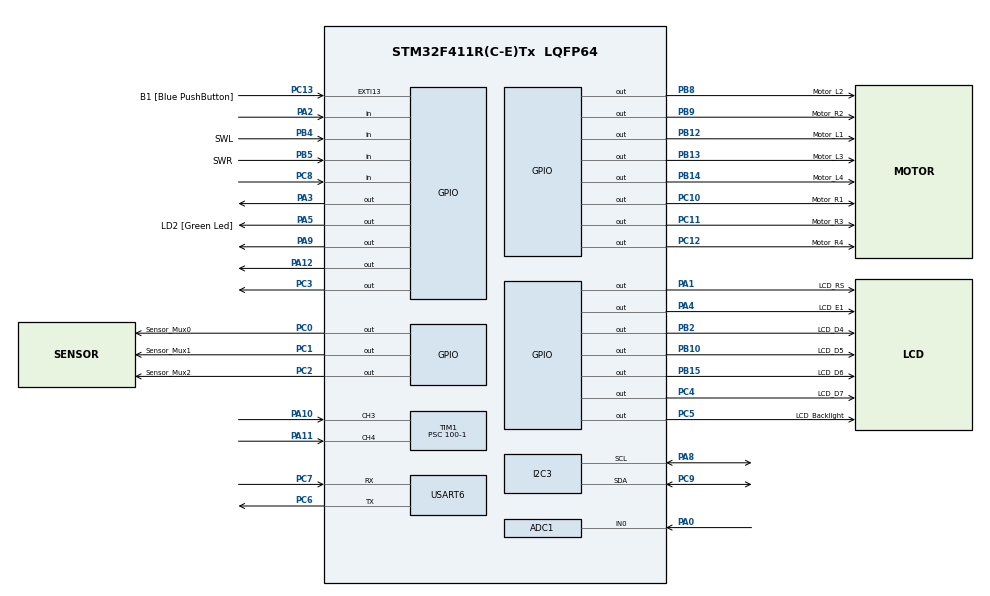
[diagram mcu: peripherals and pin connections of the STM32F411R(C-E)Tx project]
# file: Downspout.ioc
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ADC1.Channel-5\#ChannelRegularConversion=ADC_CHANNEL_0
ADC1.NbrOfConversion=1
ADC1.NbrOfConversionFlag=1
ADC1.Rank-5\#ChannelRegularConversion=1
ADC1.SamplingTime-5\#ChannelRegularConversion=ADC_SAMPLETIME_15CYCLES
ADC1.master=1
Mcu.Family=STM32F4
Mcu.Name=STM32F411R(C-E)Tx
Mcu.Package=LQFP64
NVIC.PriorityGroup=NVIC_PRIORITYGROUP_0
NVIC.TIM1_BRK_TIM9_IRQn=true\:0\:0\:false\:false\:true\:true\:true\:true
NVIC.TIM1_CC_IRQn=true\:0\:0\:false\:false\:true\:true\:true\:true
NVIC.TIM1_TRG_COM_TIM11_IRQn=true\:0\:0\:false\:false\:true\:true\:true\:true
NVIC.TIM1_UP_TIM10_IRQn=true\:0\:0\:false\:false\:true\:true\:true\:true
NVIC.TIM3_IRQn=true\:0\:0\:false\:false\:true\:true\:true\:true
NVIC.TIM4_IRQn=true\:0\:0\:false\:false\:true\:true\:true\:true
NVIC.TIM5_IRQn=true\:0\:2\:false\:false\:true\:true\:true\:true
PA0-WKUP.Signal=ADCx_IN0
PA1.GPIO_Label=LCD_RS
PA1.Signal=GPIO_Output
PA10.Signal=S_TIM1_CH3
PA11.Signal=S_TIM1_CH4
PA12.Signal=GPIO_Output
PA13.GPIO_Label=TMS
PA13.Mode=Serial_Wire
PA13.Signal=SYS_JTMS-SWDIO
PA14.GPIO_Label=TCK
PA14.Mode=Serial_Wire
PA14.Signal=SYS_JTCK-SWCLK
PA2.Signal=GPIO_Input
PA3.Signal=GPIO_Output
PA4.GPIO_Label=LCD_E1
PA4.Signal=GPIO_Output
PA5.GPIO_Label=LD2 [Green Led]
PA5.Signal=GPIO_Output
PA8.Mode=I2C
PA8.Signal=I2C3_SCL
PA9.Signal=GPIO_Output
PB10.GPIO_Label=LCD_D5
PB10.Signal=GPIO_Output
PB12.GPIO_Label=Motor_L1
PB12.Signal=GPIO_Output
PB13.GPIO_Label=Motor_L3
PB13.Signal=GPIO_Output
PB14.GPIO_Label=Motor_L4
PB14.Signal=GPIO_Output
PB15.GPIO_Label=LCD_D6
PB15.Signal=GPIO_Output
PB2.GPIO_Label=LCD_D4
PB2.Signal=GPIO_Output
PB3.GPIO_Label=SWO
PB3.Signal=SYS_JTDO-SWO
PB4.GPIO_Label=SWL
PB4.GPIO_PuPd=GPIO_PULLUP
PB4.Signal=GPIO_Input
PB5.GPIO_Label=SWR
PB5.GPIO_PuPd=GPIO_PULLUP
PB5.Signal=GPIO_Input
PB8.GPIO_Label=Motor_L2
PB8.Signal=GPIO_Output
PB9.GPIO_Label=Motor_R2
PB9.Signal=GPIO_Output
PC0.GPIO_Label=Sensor_Mux0
PC0.Signal=GPIO_Output
PC1.GPIO_Label=Sensor_Mux1
PC1.Signal=GPIO_Output
PC10.GPIO_Label=Motor_R1
PC10.Signal=GPIO_Output
PC11.GPIO_Label=Motor_R3
PC11.Signal=GPIO_Output
PC12.GPIO_Label=Motor_R4
PC12.Signal=GPIO_Output
PC13-ANTI_TAMP.GPIO_Label=B1 [Blue PushButton]
PC13-ANTI_TAMP.GPIO_ModeDefaultEXTI=GPIO_MODE_IT_FALLING
PC13-ANTI_TAMP.Signal=GPXTI13
PC14-OSC32_IN.Mode=LSE-External-Oscillator
PC14-OSC32_IN.Signal=RCC_OSC32_IN
PC15-OSC32_OUT.Mode=LSE-External-Oscillator
PC15-OSC32_OUT.Signal=RCC_OSC32_OUT
PC2.GPIO_Label=Sensor_Mux2
PC2.Signal=GPIO_Output
PC3.Signal=GPIO_Output
PC4.GPIO_Label=LCD_D7
PC4.Signal=GPIO_Output
PC5.GPIO_Label=LCD_Backlight
PC5.Signal=GPIO_Output
PC6.Mode=Asynchronous
PC6.Signal=USART6_TX
PC7.Mode=Asynchronous
PC7.Signal=USART6_RX
PC8.Signal=GPIO_Input
PC9.Mode=I2C
PC9.Signal=I2C3_SDA
PH0\ -\ OSC_IN.Mode=HSE-External-Clock-Source
PH0\ -\ OSC_IN.Signal=RCC_OSC_IN
PH1\ -\ OSC_OUT.Mode=HSE-External-Clock-Source
PH1\ -\ OSC_OUT.Signal=RCC_OSC_OUT
ProjectManager.HeapSize=0x200
ProjectManager.StackSize=0x400
ProjectManager.TargetToolchain=STM32CubeIDE
RCC.48MHZClocksFreq_Value=50000000
RCC.AHBFreq_Value=100000000
RCC.APB1CLKDivider=RCC_HCLK_DIV2
RCC.APB1Freq_Value=50000000
RCC.APB1TimFreq_Value=100000000
RCC.APB2Freq_Value=100000000
RCC.APB2TimFreq_Value=100000000
RCC.CortexFreq_Value=100000000
RCC.FLatency-AdvancedSettings=FLASH_LATENCY_3
RCC.HCLKFreq_Value=100000000
RCC.HSE_VALUE=8000000
RCC.HSI_VALUE=16000000
RCC.PLLM=8
RCC.PLLN=100
RCC.SYSCLKFreq_VALUE=100000000
RCC.SYSCLKSource=RCC_SYSCLKSOURCE_PLLCLK
RCC.VCOOutputFreq_Value=200000000
SH.ADCx_IN0.0=ADC1_IN0,IN0
SH.S_TIM1_CH3.0=TIM1_CH3,Input_Capture3_from_TI3
SH.S_TIM1_CH4.0=TIM1_CH4,Input_Capture4_from_TI4
TIM1.Channel-Input_Capture3_from_TI3=TIM_CHANNEL_3
TIM1.Channel-Input_Capture4_from_TI4=TIM_CHANNEL_4
TIM1.Period=0xffff-1
TIM1.Prescaler=100-1
TIM2.Prescaler=99
TIM2.TIM_MasterOutputTrigger=TIM_TRGO_RESET
TIM3.AutoReloadPreload=TIM_AUTORELOAD_PRELOAD_ENABLE
TIM3.Prescaler=99
TIM4.AutoReloadPreload=TIM_AUTORELOAD_PRELOAD_ENABLE
TIM4.Prescaler=99
TIM5.Period=10000
TIM5.Prescaler=0
TIM5.TIM_MasterOutputTrigger=TIM_TRGO_RESET
TIM9.Period=50000
USART6.VirtualMode=VM_ASYNC
VP_TIM1_VS_ClockSourceINT.Mode=Internal
VP_TIM2_VS_ClockSourceINT.Mode=Internal
VP_TIM2_VS_OPM.Mode=OPM_bit
VP_TIM3_VS_ClockSourceINT.Mode=Internal
VP_TIM4_VS_ClockSourceINT.Mode=Internal
VP_TIM5_VS_ClockSourceINT.Mode=Internal
VP_TIM9_VS_ClockSourceINT.Mode=Internal
board=NUCLEO-F411RE

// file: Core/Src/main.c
/* USER CODE BEGIN Header */
/**
 ******************************************************************************
 * @file           : main.c
 * @brief          : Main program body
 ******************************************************************************
 * @attention
 *
 * <h2><center>&copy; Copyright (c) 2021 STMicroelectronics.
 * All rights reserved.</center></h2>
 *
 * This software component is licensed by ST under BSD 3-Clause license,
 * the "License"; You may not use this file except in compliance with the
 * License. You may obtain a copy of the License at:
 *                        opensource.org/licenses/BSD-3-Clause
 *
 ******************************************************************************
 */
/* USER CODE END Header */
#include "main.h"

/* USER CODE BEGIN Includes */
#include "init.h"
/* USER CODE END Includes */

/* USER CODE BEGIN PD */
#define TRIG_PIN GPIO_PIN_12
#define TRIG_PORT GPIOA

#define TRIG_PIN2 GPIO_PIN_9
#define TRIG_PORT2 GPIOA

/* USER CODE END PD */

/* USER CODE BEGIN PM */
#ifdef __GNUC__
  /* With GCC, small printf (option LD Linker->Libraries->Small printf
     set to 'Yes') calls __io_putchar() */
  #define PUTCHAR_PROTOTYPE int __io_putchar(int ch)
#else
  #define PUTCHAR_PROTOTYPE int fputc(int ch, FILE *f)
#endif /* __GNUC__ */
PUTCHAR_PROTOTYPE
{
  /* Place your implementation of fputc here */
  /* e.g. write a character to the EVAL_COM1 and Loop until the end of transmission */
  HAL_UART_Transmit(&huart6, (uint8_t *)&ch, 1, 0xFFFF);

  return ch;
}

/* USER CODE END PM */

TIM_HandleTypeDef htim1;

UART_HandleTypeDef huart6;

/* USER CODE BEGIN PV */
uint32_t IC_Val1 = 0;
uint32_t IC_Val2 = 0;
uint32_t Difference = 0;
uint8_t Is_First_Captured = 0;  // is the first value captured ?
uint8_t Distance  = 0;

uint32_t IC_Val3 = 0;
uint32_t IC_Val4 = 0;
uint32_t Difference2 = 0;
uint8_t Is_First_Captured2 = 0;  // is the first value captured ?
uint8_t Distance2  = 0;
/* USER CODE END PV */

void SystemClock_Config(void);
static void MX_GPIO_Init(void);
static void MX_ADC1_Init(void);
static void MX_I2C3_Init(void);
static void MX_TIM2_Init(void);
static void MX_TIM3_Init(void);
static void MX_TIM4_Init(void);
static void MX_TIM5_Init(void);
static void MX_TIM9_Init(void);
static void MX_TIM1_Init(void);
static void MX_USART6_UART_Init(void);
/* USER CODE BEGIN PFP */
void delay (uint16_t time)
{
	__HAL_TIM_SET_COUNTER(&htim1, 0);
	while (__HAL_TIM_GET_COUNTER (&htim1) < time);
}

void HAL_TIM_IC_CaptureCallback(TIM_HandleTypeDef *htim)
{

	if (htim->Channel == HAL_TIM_ACTIVE_CHANNEL_4)  // if the interrupt source is channel4
	{
		if (Is_First_Captured==0) // if the first value is not captured
		{
			IC_Val1 = HAL_TIM_ReadCapturedValue(htim, TIM_CHANNEL_4); // read the first value
			Is_First_Captured = 1;  // set the first captured as true
			// Now change the polarity to falling edge
			__HAL_TIM_SET_CAPTUREPOLARITY(htim, TIM_CHANNEL_4, TIM_INPUTCHANNELPOLARITY_FALLING);
		}

		else if (Is_First_Captured==1)   // if the first is already captured
		{
			IC_Val2 = HAL_TIM_ReadCapturedValue(htim, TIM_CHANNEL_4);  // read second value
			__HAL_TIM_SET_COUNTER(htim, 0);  // reset the counter

			if (IC_Val2 > IC_Val1)
			{
				Difference = IC_Val2-IC_Val1;
			}

			else if (IC_Val1 > IC_Val2)
			{
				Difference = (0xffff - IC_Val1) + IC_Val2;
			}

			Distance = Difference * 0.034/2;
			Is_First_Captured = 0; // set it back to false

			// set polarity to rising edge
			__HAL_TIM_SET_CAPTUREPOLARITY(htim, TIM_CHANNEL_4, TIM_INPUTCHANNELPOLARITY_RISING);
			__HAL_TIM_DISABLE_IT(&htim1, TIM_IT_CC4);
		}
	}

	if (htim->Channel == HAL_TIM_ACTIVE_CHANNEL_3)  // if the interrupt source is channel1
		{
			if (Is_First_Captured2==0) // if the first value is not captured
			{
				IC_Val3 = HAL_TIM_ReadCapturedValue(htim, TIM_CHANNEL_3); // read the first value
				Is_First_Captured2 = 1;  // set the first captured as true
				// Now change the polarity to falling edge
				__HAL_TIM_SET_CAPTUREPOLARITY(htim, TIM_CHANNEL_3, TIM_INPUTCHANNELPOLARITY_FALLING);
			}

			else if (Is_First_Captured2==1)   // if the first is already captured
			{
				IC_Val4 = HAL_TIM_ReadCapturedValue(htim, TIM_CHANNEL_3);  // read second value
				__HAL_TIM_SET_COUNTER(htim, 0);  // reset the counter

				if (IC_Val4 > IC_Val3)
				{
					Difference2 = IC_Val4-IC_Val3;
				}

				else if (IC_Val3 > IC_Val4)
				{
					Difference2 = (0xffff - IC_Val3) + IC_Val4;
				}

				Distance2 = Difference2 * 0.034/2;
				Is_First_Captured2 = 0; // set it back to false

				// set polarity to rising edge
				__HAL_TIM_SET_CAPTUREPOLARITY(htim, TIM_CHANNEL_3, TIM_INPUTCHANNELPOLARITY_RISING);
				__HAL_TIM_DISABLE_IT(&htim1, TIM_IT_CC3);
			}
		}
}

void HCSR04_Read (void)
{
	HAL_GPIO_WritePin(TRIG_PORT, TRIG_PIN, GPIO_PIN_SET);  // pull the TRIG pin HIGH
	delay(10);  // wait for 10 us
	HAL_GPIO_WritePin(TRIG_PORT, TRIG_PIN, GPIO_PIN_RESET);  // pull the TRIG pin low
	//__HAL_TIM_DISABLE_IT(&htim1,TIM_IT_CC3);
	__HAL_TIM_ENABLE_IT(&htim1, TIM_IT_CC4);
}

void HCSR04_Read2 (void)
{
	HAL_GPIO_WritePin(TRIG_PORT2, TRIG_PIN2, GPIO_PIN_SET);  // pull the TRIG pin HIGH
	delay(10);  // wait for 10 us
	HAL_GPIO_WritePin(TRIG_PORT2, TRIG_PIN2, GPIO_PIN_RESET);  // pull the TRIG pin low
	//__HAL_TIM_DISABLE_IT(&htim1,TIM_IT_CC4);
	__HAL_TIM_ENABLE_IT(&htim1, TIM_IT_CC3);

}

/* USER CODE END PFP */

int main(void)
{

  /* MCU Configuration--------------------------------------------------------*/

  /* Reset of all peripherals, Initializes the Flash interface and the Systick. */
  HAL_Init();

  /* Configure the system clock */
  SystemClock_Config();

  /* Initialize all configured peripherals */
  MX_GPIO_Init();
  MX_ADC1_Init();
  MX_I2C3_Init();
  MX_TIM2_Init();
  MX_TIM3_Init();
  MX_TIM4_Init();
  MX_TIM5_Init();
  MX_TIM9_Init();
  MX_TIM1_Init();
  MX_USART6_UART_Init();
  /* USER CODE BEGIN 2 */
  Init();
  /* USER CODE END 2 */

  /* Infinite loop */
  while (1) {

  }
}

void SystemClock_Config(void)
{
  LL_FLASH_SetLatency(LL_FLASH_LATENCY_3);
  while(LL_FLASH_GetLatency()!= LL_FLASH_LATENCY_3)
  {
  }
  LL_PWR_SetRegulVoltageScaling(LL_PWR_REGU_VOLTAGE_SCALE1);
  LL_RCC_HSI_SetCalibTrimming(16);
  LL_RCC_HSI_Enable();

   /* Wait till HSI is ready */
  while(LL_RCC_HSI_IsReady() != 1)
  {

  }
  LL_RCC_PLL_ConfigDomain_SYS(LL_RCC_PLLSOURCE_HSI, LL_RCC_PLLM_DIV_8, 100, LL_RCC_PLLP_DIV_2);
  LL_RCC_PLL_Enable();

   /* Wait till PLL is ready */
  while(LL_RCC_PLL_IsReady() != 1)
  {

  }
  LL_RCC_SetAHBPrescaler(LL_RCC_SYSCLK_DIV_1);
  LL_RCC_SetAPB1Prescaler(LL_RCC_APB1_DIV_2);
  LL_RCC_SetAPB2Prescaler(LL_RCC_APB2_DIV_1);
  LL_RCC_SetSysClkSource(LL_RCC_SYS_CLKSOURCE_PLL);

   /* Wait till System clock is ready */
  while(LL_RCC_GetSysClkSource() != LL_RCC_SYS_CLKSOURCE_STATUS_PLL)
  {

  }
  LL_SetSystemCoreClock(100000000);

   /* Update the time base */
  if (HAL_InitTick (TICK_INT_PRIORITY) != HAL_OK)
  {
    Error_Handler();
  }
  LL_RCC_SetTIMPrescaler(LL_RCC_TIM_PRESCALER_TWICE);
}

static void MX_ADC1_Init(void)
{

  LL_ADC_InitTypeDef ADC_InitStruct = {0};
  LL_ADC_REG_InitTypeDef ADC_REG_InitStruct = {0};
  LL_ADC_CommonInitTypeDef ADC_CommonInitStruct = {0};

  LL_GPIO_InitTypeDef GPIO_InitStruct = {0};

  /* Peripheral clock enable */
  LL_APB2_GRP1_EnableClock(LL_APB2_GRP1_PERIPH_ADC1);

  LL_AHB1_GRP1_EnableClock(LL_AHB1_GRP1_PERIPH_GPIOA);
  /**ADC1 GPIO Configuration
  PA0-WKUP   ------> ADC1_IN0
  */
  GPIO_InitStruct.Pin = LL_GPIO_PIN_0;
  GPIO_InitStruct.Mode = LL_GPIO_MODE_ANALOG;
  GPIO_InitStruct.Pull = LL_GPIO_PULL_NO;
  LL_GPIO_Init(GPIOA, &GPIO_InitStruct);

  /** Common config
  */
  ADC_InitStruct.Resolution = LL_ADC_RESOLUTION_12B;
  ADC_InitStruct.DataAlignment = LL_ADC_DATA_ALIGN_RIGHT;
  ADC_InitStruct.SequencersScanMode = LL_ADC_SEQ_SCAN_DISABLE;
  LL_ADC_Init(ADC1, &ADC_InitStruct);
  ADC_REG_InitStruct.TriggerSource = LL_ADC_REG_TRIG_SOFTWARE;
  ADC_REG_InitStruct.SequencerLength = LL_ADC_REG_SEQ_SCAN_DISABLE;
  ADC_REG_InitStruct.SequencerDiscont = LL_ADC_REG_SEQ_DISCONT_DISABLE;
  ADC_REG_InitStruct.ContinuousMode = LL_ADC_REG_CONV_SINGLE;
  ADC_REG_InitStruct.DMATransfer = LL_ADC_REG_DMA_TRANSFER_NONE;
  LL_ADC_REG_Init(ADC1, &ADC_REG_InitStruct);
  LL_ADC_REG_SetFlagEndOfConversion(ADC1, LL_ADC_REG_FLAG_EOC_UNITARY_CONV);
  ADC_CommonInitStruct.CommonClock = LL_ADC_CLOCK_SYNC_PCLK_DIV4;
  LL_ADC_CommonInit(__LL_ADC_COMMON_INSTANCE(ADC1), &ADC_CommonInitStruct);
  /** Configure Regular Channel
  */
  LL_ADC_REG_SetSequencerRanks(ADC1, LL_ADC_REG_RANK_1, LL_ADC_CHANNEL_0);
  LL_ADC_SetChannelSamplingTime(ADC1, LL_ADC_CHANNEL_0, LL_ADC_SAMPLINGTIME_15CYCLES);

}

static void MX_I2C3_Init(void)
{

  LL_I2C_InitTypeDef I2C_InitStruct = {0};

  LL_GPIO_InitTypeDef GPIO_InitStruct = {0};

  LL_AHB1_GRP1_EnableClock(LL_AHB1_GRP1_PERIPH_GPIOC);
  LL_AHB1_GRP1_EnableClock(LL_AHB1_GRP1_PERIPH_GPIOA);
  /**I2C3 GPIO Configuration
  PC9   ------> I2C3_SDA
  PA8   ------> I2C3_SCL
  */
  GPIO_InitStruct.Pin = LL_GPIO_PIN_9;
  GPIO_InitStruct.Mode = LL_GPIO_MODE_ALTERNATE;
  GPIO_InitStruct.Speed = LL_GPIO_SPEED_FREQ_VERY_HIGH;
  GPIO_InitStruct.OutputType = LL_GPIO_OUTPUT_OPENDRAIN;
  GPIO_InitStruct.Pull = LL_GPIO_PULL_UP;
  GPIO_InitStruct.Alternate = LL_GPIO_AF_4;
  LL_GPIO_Init(GPIOC, &GPIO_InitStruct);

  GPIO_InitStruct.Pin = LL_GPIO_PIN_8;
  GPIO_InitStruct.Mode = LL_GPIO_MODE_ALTERNATE;
  GPIO_InitStruct.Speed = LL_GPIO_SPEED_FREQ_VERY_HIGH;
  GPIO_InitStruct.OutputType = LL_GPIO_OUTPUT_OPENDRAIN;
  GPIO_InitStruct.Pull = LL_GPIO_PULL_UP;
  GPIO_InitStruct.Alternate = LL_GPIO_AF_4;
  LL_GPIO_Init(GPIOA, &GPIO_InitStruct);

  /* Peripheral clock enable */
  LL_APB1_GRP1_EnableClock(LL_APB1_GRP1_PERIPH_I2C3);

  /** I2C Initialization
  */
  LL_I2C_DisableOwnAddress2(I2C3);
  LL_I2C_DisableGeneralCall(I2C3);
  LL_I2C_EnableClockStretching(I2C3);
  I2C_InitStruct.PeripheralMode = LL_I2C_MODE_I2C;
  I2C_InitStruct.ClockSpeed = 100000;
  I2C_InitStruct.DutyCycle = LL_I2C_DUTYCYCLE_2;
  I2C_InitStruct.OwnAddress1 = 0;
  I2C_InitStruct.TypeAcknowledge = LL_I2C_ACK;
  I2C_InitStruct.OwnAddrSize = LL_I2C_OWNADDRESS1_7BIT;
  LL_I2C_Init(I2C3, &I2C_InitStruct);
  LL_I2C_SetOwnAddress2(I2C3, 0);

}

static void MX_TIM1_Init(void)
{

  TIM_ClockConfigTypeDef sClockSourceConfig = {0};
  TIM_MasterConfigTypeDef sMasterConfig = {0};
  TIM_IC_InitTypeDef sConfigIC = {0};

  htim1.Instance = TIM1;
  htim1.Init.Prescaler = 100-1;
  htim1.Init.CounterMode = TIM_COUNTERMODE_UP;
  htim1.Init.Period = 0xffff-1;
  htim1.Init.ClockDivision = TIM_CLOCKDIVISION_DIV1;
  htim1.Init.RepetitionCounter = 0;
  htim1.Init.AutoReloadPreload = TIM_AUTORELOAD_PRELOAD_DISABLE;
  if (HAL_TIM_Base_Init(&htim1) != HAL_OK)
  {
    Error_Handler();
  }
  sClockSourceConfig.ClockSource = TIM_CLOCKSOURCE_INTERNAL;
  if (HAL_TIM_ConfigClockSource(&htim1, &sClockSourceConfig) != HAL_OK)
  {
    Error_Handler();
  }
  if (HAL_TIM_IC_Init(&htim1) != HAL_OK)
  {
    Error_Handler();
  }
  sMasterConfig.MasterOutputTrigger = TIM_TRGO_RESET;
  sMasterConfig.MasterSlaveMode = TIM_MASTERSLAVEMODE_DISABLE;
  if (HAL_TIMEx_MasterConfigSynchronization(&htim1, &sMasterConfig) != HAL_OK)
  {
    Error_Handler();
  }
  sConfigIC.ICPolarity = TIM_INPUTCHANNELPOLARITY_RISING;
  sConfigIC.ICSelection = TIM_ICSELECTION_DIRECTTI;
  sConfigIC.ICPrescaler = TIM_ICPSC_DIV1;
  sConfigIC.ICFilter = 0;
  if (HAL_TIM_IC_ConfigChannel(&htim1, &sConfigIC, TIM_CHANNEL_3) != HAL_OK)
  {
    Error_Handler();
  }
  if (HAL_TIM_IC_ConfigChannel(&htim1, &sConfigIC, TIM_CHANNEL_4) != HAL_OK)
  {
    Error_Handler();
  }

}

static void MX_TIM2_Init(void)
{

  LL_TIM_InitTypeDef TIM_InitStruct = {0};

  /* Peripheral clock enable */
  LL_APB1_GRP1_EnableClock(LL_APB1_GRP1_PERIPH_TIM2);

  TIM_InitStruct.Prescaler = 99;
  TIM_InitStruct.CounterMode = LL_TIM_COUNTERMODE_UP;
  TIM_InitStruct.Autoreload = 4294967295;
  TIM_InitStruct.ClockDivision = LL_TIM_CLOCKDIVISION_DIV1;
  LL_TIM_Init(TIM2, &TIM_InitStruct);
  LL_TIM_DisableARRPreload(TIM2);
  LL_TIM_SetClockSource(TIM2, LL_TIM_CLOCKSOURCE_INTERNAL);
  LL_TIM_SetOnePulseMode(TIM2, LL_TIM_ONEPULSEMODE_SINGLE);
  LL_TIM_SetTriggerOutput(TIM2, LL_TIM_TRGO_RESET);
  LL_TIM_DisableMasterSlaveMode(TIM2);

}

static void MX_TIM3_Init(void)
{

  LL_TIM_InitTypeDef TIM_InitStruct = {0};

  /* Peripheral clock enable */
  LL_APB1_GRP1_EnableClock(LL_APB1_GRP1_PERIPH_TIM3);

  /* TIM3 interrupt Init */
  NVIC_SetPriority(TIM3_IRQn, NVIC_EncodePriority(NVIC_GetPriorityGrouping(),0, 0));
  NVIC_EnableIRQ(TIM3_IRQn);

  TIM_InitStruct.Prescaler = 99;
  TIM_InitStruct.CounterMode = LL_TIM_COUNTERMODE_UP;
  TIM_InitStruct.Autoreload = 65535;
  TIM_InitStruct.ClockDivision = LL_TIM_CLOCKDIVISION_DIV1;
  LL_TIM_Init(TIM3, &TIM_InitStruct);
  LL_TIM_EnableARRPreload(TIM3);
  LL_TIM_SetClockSource(TIM3, LL_TIM_CLOCKSOURCE_INTERNAL);
  LL_TIM_SetTriggerOutput(TIM3, LL_TIM_TRGO_RESET);
  LL_TIM_DisableMasterSlaveMode(TIM3);

}

static void MX_TIM4_Init(void)
{

  LL_TIM_InitTypeDef TIM_InitStruct = {0};

  /* Peripheral clock enable */
  LL_APB1_GRP1_EnableClock(LL_APB1_GRP1_PERIPH_TIM4);

  /* TIM4 interrupt Init */
  NVIC_SetPriority(TIM4_IRQn, NVIC_EncodePriority(NVIC_GetPriorityGrouping(),0, 0));
  NVIC_EnableIRQ(TIM4_IRQn);

  TIM_InitStruct.Prescaler = 99;
  TIM_InitStruct.CounterMode = LL_TIM_COUNTERMODE_UP;
  TIM_InitStruct.Autoreload = 65535;
  TIM_InitStruct.ClockDivision = LL_TIM_CLOCKDIVISION_DIV1;
  LL_TIM_Init(TIM4, &TIM_InitStruct);
  LL_TIM_EnableARRPreload(TIM4);
  LL_TIM_SetClockSource(TIM4, LL_TIM_CLOCKSOURCE_INTERNAL);
  LL_TIM_SetTriggerOutput(TIM4, LL_TIM_TRGO_RESET);
  LL_TIM_DisableMasterSlaveMode(TIM4);

}

static void MX_TIM5_Init(void)
{

  LL_TIM_InitTypeDef TIM_InitStruct = {0};

  /* Peripheral clock enable */
  LL_APB1_GRP1_EnableClock(LL_APB1_GRP1_PERIPH_TIM5);

  /* TIM5 interrupt Init */
  NVIC_SetPriority(TIM5_IRQn, NVIC_EncodePriority(NVIC_GetPriorityGrouping(),0, 2));
  NVIC_EnableIRQ(TIM5_IRQn);

  TIM_InitStruct.Prescaler = 0;
  TIM_InitStruct.CounterMode = LL_TIM_COUNTERMODE_UP;
  TIM_InitStruct.Autoreload = 10000;
  TIM_InitStruct.ClockDivision = LL_TIM_CLOCKDIVISION_DIV1;
  LL_TIM_Init(TIM5, &TIM_InitStruct);
  LL_TIM_DisableARRPreload(TIM5);
  LL_TIM_SetClockSource(TIM5, LL_TIM_CLOCKSOURCE_INTERNAL);
  LL_TIM_SetTriggerOutput(TIM5, LL_TIM_TRGO_RESET);
  LL_TIM_DisableMasterSlaveMode(TIM5);

}

static void MX_TIM9_Init(void)
{

  LL_TIM_InitTypeDef TIM_InitStruct = {0};

  /* Peripheral clock enable */
  LL_APB2_GRP1_EnableClock(LL_APB2_GRP1_PERIPH_TIM9);

  /* TIM9 interrupt Init */
  NVIC_SetPriority(TIM1_BRK_TIM9_IRQn, NVIC_EncodePriority(NVIC_GetPriorityGrouping(),0, 0));
  NVIC_EnableIRQ(TIM1_BRK_TIM9_IRQn);

  TIM_InitStruct.Prescaler = 0;
  TIM_InitStruct.CounterMode = LL_TIM_COUNTERMODE_UP;
  TIM_InitStruct.Autoreload = 50000;
  TIM_InitStruct.ClockDivision = LL_TIM_CLOCKDIVISION_DIV1;
  LL_TIM_Init(TIM9, &TIM_InitStruct);
  LL_TIM_DisableARRPreload(TIM9);
  LL_TIM_SetClockSource(TIM9, LL_TIM_CLOCKSOURCE_INTERNAL);

}

static void MX_USART6_UART_Init(void)
{

  huart6.Instance = USART6;
  huart6.Init.BaudRate = 115200;
  huart6.Init.WordLength = UART_WORDLENGTH_8B;
  huart6.Init.StopBits = UART_STOPBITS_1;
  huart6.Init.Parity = UART_PARITY_NONE;
  huart6.Init.Mode = UART_MODE_TX_RX;
  huart6.Init.HwFlowCtl = UART_HWCONTROL_NONE;
  huart6.Init.OverSampling = UART_OVERSAMPLING_16;
  if (HAL_UART_Init(&huart6) != HAL_OK)
  {
    Error_Handler();
  }

}

static void MX_GPIO_Init(void)
{
  LL_EXTI_InitTypeDef EXTI_InitStruct = {0};
  LL_GPIO_InitTypeDef GPIO_InitStruct = {0};

  /* GPIO Ports Clock Enable */
  LL_AHB1_GRP1_EnableClock(LL_AHB1_GRP1_PERIPH_GPIOC);
  LL_AHB1_GRP1_EnableClock(LL_AHB1_GRP1_PERIPH_GPIOH);
  LL_AHB1_GRP1_EnableClock(LL_AHB1_GRP1_PERIPH_GPIOA);
  LL_AHB1_GRP1_EnableClock(LL_AHB1_GRP1_PERIPH_GPIOB);

  /**/
  LL_GPIO_ResetOutputPin(GPIOC, Sensor_Mux0_Pin|Sensor_Mux1_Pin|Sensor_Mux2_Pin|LL_GPIO_PIN_3
                          |LCD_D7_Pin|LCD_Backlight_Pin|Motor_R1_Pin|Motor_R3_Pin
                          |Motor_R4_Pin);

  /**/
  LL_GPIO_ResetOutputPin(GPIOA, LCD_RS_Pin|LL_GPIO_PIN_3|LCD_E1_Pin|LD2_Pin
                          |LL_GPIO_PIN_9|LL_GPIO_PIN_12);

  /**/
  LL_GPIO_ResetOutputPin(GPIOB, LCD_D4_Pin|LCD_D5_Pin|Motor_L1_Pin|Motor_L3_Pin
                          |Motor_L4_Pin|LCD_D6_Pin|Motor_L2_Pin|Motor_R2_Pin);

  /**/
  LL_SYSCFG_SetEXTISource(LL_SYSCFG_EXTI_PORTC, LL_SYSCFG_EXTI_LINE13);

  /**/
  EXTI_InitStruct.Line_0_31 = LL_EXTI_LINE_13;
  EXTI_InitStruct.LineCommand = ENABLE;
  EXTI_InitStruct.Mode = LL_EXTI_MODE_IT;
  EXTI_InitStruct.Trigger = LL_EXTI_TRIGGER_FALLING;
  LL_EXTI_Init(&EXTI_InitStruct);

  /**/
  LL_GPIO_SetPinPull(B1_GPIO_Port, B1_Pin, LL_GPIO_PULL_NO);

  /**/
  LL_GPIO_SetPinMode(B1_GPIO_Port, B1_Pin, LL_GPIO_MODE_INPUT);

  /**/
  GPIO_InitStruct.Pin = Sensor_Mux0_Pin|Sensor_Mux1_Pin|Sensor_Mux2_Pin|LL_GPIO_PIN_3
                          |LCD_D7_Pin|LCD_Backlight_Pin|Motor_R1_Pin|Motor_R3_Pin
                          |Motor_R4_Pin;
  GPIO_InitStruct.Mode = LL_GPIO_MODE_OUTPUT;
  GPIO_InitStruct.Speed = LL_GPIO_SPEED_FREQ_LOW;
  GPIO_InitStruct.OutputType = LL_GPIO_OUTPUT_PUSHPULL;
  GPIO_InitStruct.Pull = LL_GPIO_PULL_NO;
  LL_GPIO_Init(GPIOC, &GPIO_InitStruct);

  /**/
  GPIO_InitStruct.Pin = LCD_RS_Pin|LL_GPIO_PIN_3|LCD_E1_Pin|LD2_Pin
                          |LL_GPIO_PIN_9|LL_GPIO_PIN_12;
  GPIO_InitStruct.Mode = LL_GPIO_MODE_OUTPUT;
  GPIO_InitStruct.Speed = LL_GPIO_SPEED_FREQ_LOW;
  GPIO_InitStruct.OutputType = LL_GPIO_OUTPUT_PUSHPULL;
  GPIO_InitStruct.Pull = LL_GPIO_PULL_NO;
  LL_GPIO_Init(GPIOA, &GPIO_InitStruct);

  /**/
  GPIO_InitStruct.Pin = LL_GPIO_PIN_2;
  GPIO_InitStruct.Mode = LL_GPIO_MODE_INPUT;
  GPIO_InitStruct.Pull = LL_GPIO_PULL_NO;
  LL_GPIO_Init(GPIOA, &GPIO_InitStruct);

  /**/
  GPIO_InitStruct.Pin = LCD_D4_Pin|LCD_D5_Pin|Motor_L1_Pin|Motor_L3_Pin
                          |Motor_L4_Pin|LCD_D6_Pin|Motor_L2_Pin|Motor_R2_Pin;
  GPIO_InitStruct.Mode = LL_GPIO_MODE_OUTPUT;
  GPIO_InitStruct.Speed = LL_GPIO_SPEED_FREQ_LOW;
  GPIO_InitStruct.OutputType = LL_GPIO_OUTPUT_PUSHPULL;
  GPIO_InitStruct.Pull = LL_GPIO_PULL_NO;
  LL_GPIO_Init(GPIOB, &GPIO_InitStruct);

  /**/
  GPIO_InitStruct.Pin = LL_GPIO_PIN_8;
  GPIO_InitStruct.Mode = LL_GPIO_MODE_INPUT;
  GPIO_InitStruct.Pull = LL_GPIO_PULL_NO;
  LL_GPIO_Init(GPIOC, &GPIO_InitStruct);

  /**/
  GPIO_InitStruct.Pin = SWL_Pin|SWR_Pin;
  GPIO_InitStruct.Mode = LL_GPIO_MODE_INPUT;
  GPIO_InitStruct.Pull = LL_GPIO_PULL_UP;
  LL_GPIO_Init(GPIOB, &GPIO_InitStruct);

}

void Error_Handler(void)
{
	__disable_irq();
	while (1) {
	}
}

/************************ (C) COPYRIGHT STMicroelectronics *****END OF FILE****/
